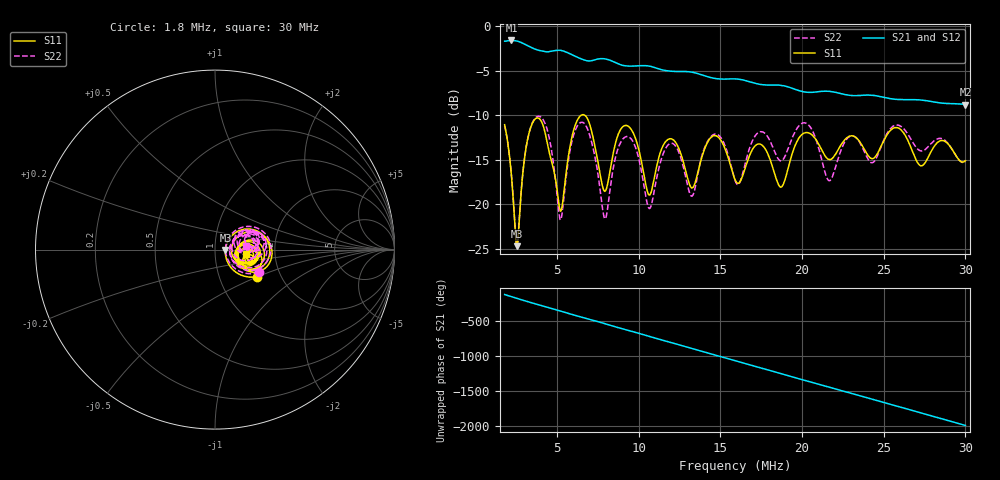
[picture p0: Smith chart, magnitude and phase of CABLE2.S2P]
!Agilent Technologies,E5061B,MY49101568,A.02.00
!Date: Mon Feb 27 18:07:14 2023
!Data & Calibration Information:
!Freq	S11:SOLT2(ON)	S21:SOLT2(ON)	S12:SOLT2(ON)	S22:SOLT2(ON)
# Hz S dB R 50
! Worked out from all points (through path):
!   1155 points, 1.8 MHz to 30 MHz, reference 50 ohm
!   highest |S21| = -1.59 dB at 2.215 MHz (marker M1); lowest = -8.8 dB at 30 MHz (marker M2)
!   group delay of S21, straight-line fit = 183 ns
!   lowest |S11| = -24.7 dB at 2.558 MHz (marker M3), VSWR 1.12, Z = 56.2 - j0.224 ohm
!   |S11| at or under -10 dB: start of sweep to 6.483 MHz; 6.712 MHz to end of sweep
!   |S22| runs from -24.6 to -10.1 dB; largest |S21 - S12| = 0.0029
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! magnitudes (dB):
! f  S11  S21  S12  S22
! 1.8 MHz  -11.1  -1.7  -1.7  -11.2
! 2.215 MHz  -16.7  -1.6  -1.6  -16.6
! 2.558 MHz  -24.7  -1.7  -1.7  -24.6
! 3.584 MHz  -10.6  -2.5  -2.5  -10.5
! 4.415 MHz  -13.2  -2.9  -2.9  -11.7
! 5.221 MHz  -20.8  -2.7  -2.7  -21.8
! 6.516 MHz  -10.0  -3.7  -3.7  -10.8
! 7.934 MHz  -18.6  -3.7  -3.7  -21.6
! 9.107 MHz  -11.2  -4.4  -4.4  -12.5
! 10.62 MHz  -18.9  -4.5  -4.5  -20.4
! 11.21 MHz  -14.9  -4.8  -4.8  -16.2
! 12.14 MHz  -12.8  -5.1  -5.1  -13.2
! 13.29 MHz  -18.2  -5.2  -5.2  -19.1
! 14.73 MHz  -12.3  -5.9  -5.9  -12.1
! 15.9 MHz  -17.2  -5.9  -5.9  -17.3
! 17.42 MHz  -13.2  -6.5  -6.5  -11.9
! 18.73 MHz  -18.1  -6.6  -6.6  -15.1
! 20.62 MHz  -12.2  -7.4  -7.4  -11.7
! 21.67 MHz  -15.0  -7.3  -7.3  -17.4
! 22.84 MHz  -12.4  -7.7  -7.7  -12.5
! 25.31 MHz  -11.9  -8.1  -8.1  -11.7
! 30 MHz  -15.1  -8.8  -8.8  -15.3
